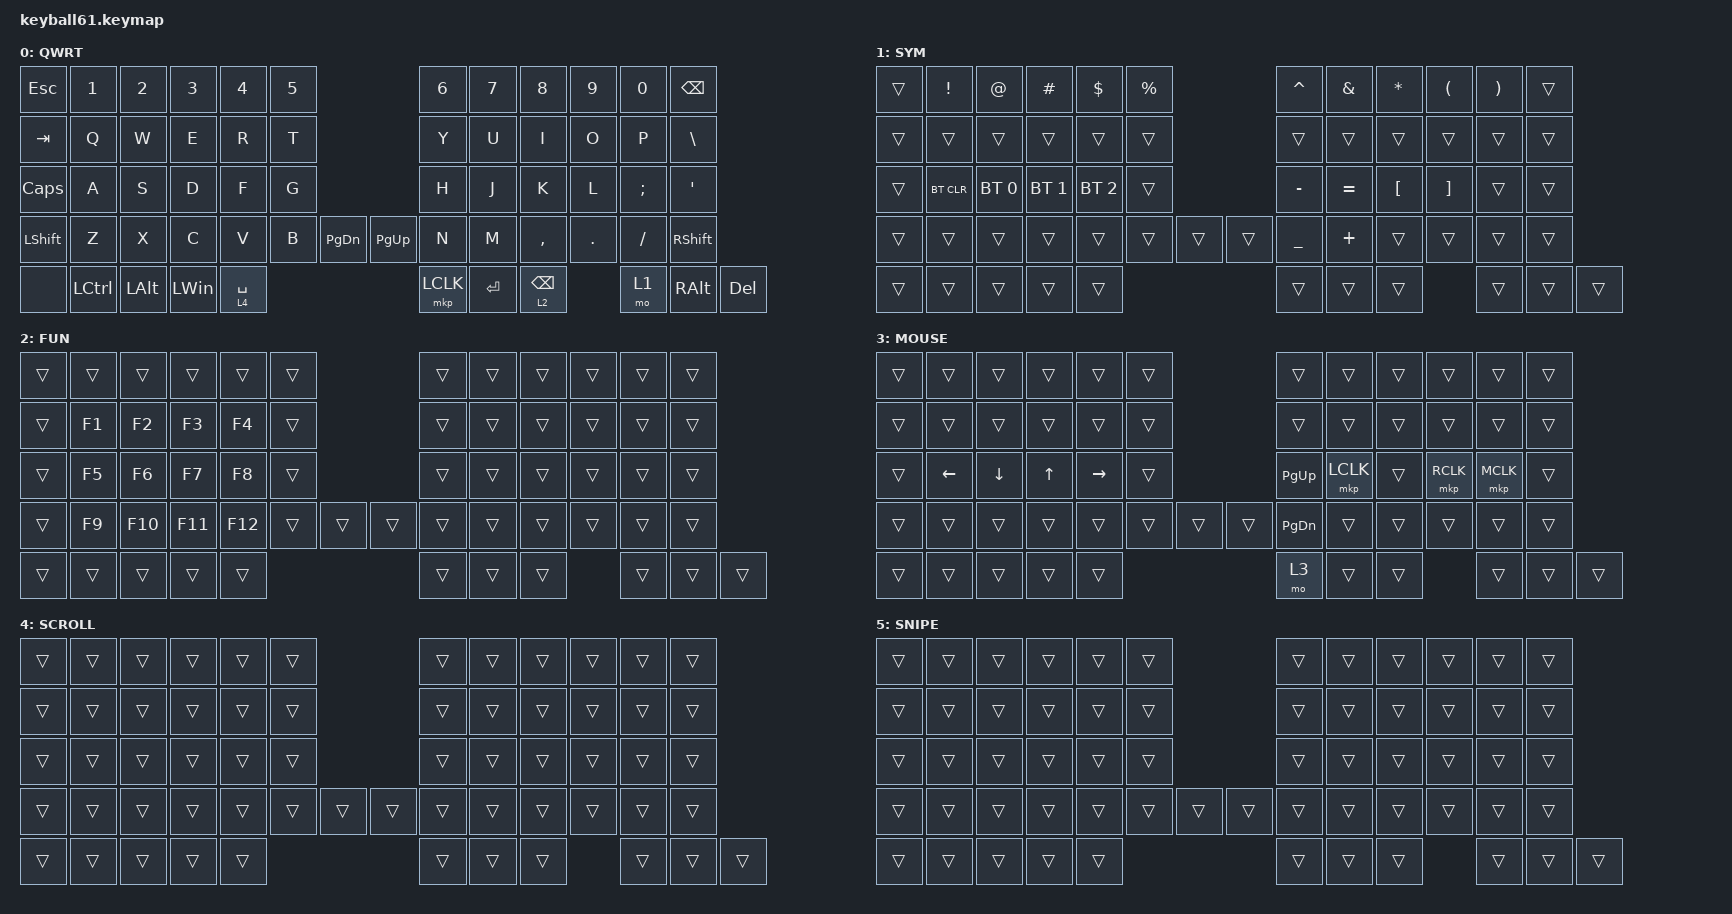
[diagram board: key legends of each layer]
#include <behaviors.dtsi>
#include <dt-bindings/zmk/keys.h>
#include <dt-bindings/zmk/bt.h>
#include <dt-bindings/zmk/mouse.h>

#define DEFAULT 0
#define SYM     1
#define FUN     2
#define MOUSE   3
#define SCROLL  4
#define SNIPE   5

&lt {
    tapping-term-ms = <240>;
    flavor = "balanced";
    quick-tap-ms = <150>;
};

&mt {
    tapping-term-ms = <200>;
    flavor = "tap-preferred";
    quick-tap-ms = <150>;
};

/ {
    keymap {
        compatible = "zmk,keymap";

        default_layer {
            label = "QWRT";
            bindings = <
&kp ESC         &kp N1     &kp N2        &kp N3        &kp N4  &kp N5                                   &kp N6           &kp N7  &kp N8     &kp N9   &kp N0         &kp BSPC
&kp TAB         &kp Q      &kp W         &kp E         &kp R   &kp T                                    &kp Y            &kp U   &kp I      &kp O    &kp P          &kp BACKSLASH
&kp CAPS        &kp A      &kp S         &kp D         &kp F   &kp G                                    &kp H            &kp J   &kp K      &kp L    &kp SEMI       &kp SQT
&kp LEFT_SHIFT  &kp Z      &kp X         &kp C         &kp V   &kp B        &kp PAGE_DOWN  &kp PAGE_UP  &kp N            &kp M   &kp COMMA  &kp DOT  &kp FSLH       &kp RIGHT_SHIFT
&none           &kp LCTRL  &kp LEFT_ALT  &kp LEFT_WIN  &lt 4 SPACE                                      &mkp LCLK        &kp ENTER  &lt 2 BACKSPACE  &mo 1    &kp RIGHT_ALT  &kp DELETE
            >;
        };

        symbol_layer {
            label = "SYM";
            bindings = <
&trans  &kp EXCL &kp AT   &kp HASH &kp DLLR &kp PRCNT                            &kp CARET &kp AMPS &kp ASTRK &kp LPAR &kp RPAR &trans
&trans  &trans   &trans   &trans   &trans   &trans                               &trans    &trans   &trans    &trans   &trans   &trans
&trans  &bt BT_CLR &bt BT_SEL 0 &bt BT_SEL 1 &bt BT_SEL 2 &trans                 &kp MINUS &kp EQUAL &kp LBKT &kp RBKT &trans   &trans
&trans  &trans   &trans   &trans   &trans   &trans    &trans    &trans           &kp UNDER &kp PLUS &trans    &trans   &trans   &trans
&trans  &trans   &trans   &trans   &trans                                        &trans    &trans   &trans    &trans   &trans   &trans
            >;
        };

        function_layer {
            label = "FUN";
            bindings = <
&trans  &trans  &trans  &trans  &trans  &trans                                   &trans  &trans  &trans  &trans  &trans  &trans
&trans  &kp F1  &kp F2  &kp F3  &kp F4  &trans                                   &trans  &trans  &trans  &trans  &trans  &trans
&trans  &kp F5  &kp F6  &kp F7  &kp F8  &trans                                   &trans  &trans  &trans  &trans  &trans  &trans
&trans  &kp F9  &kp F10 &kp F11 &kp F12 &trans      &trans      &trans           &trans  &trans  &trans  &trans  &trans  &trans
&trans  &trans  &trans  &trans  &trans                                           &trans  &trans  &trans  &trans  &trans  &trans
            >;
        };

        mouse_layer {
            label = "MOUSE";
            bindings = <
&trans  &trans    &trans    &trans  &trans     &trans                            &trans         &trans     &trans  &trans     &trans     &trans
&trans  &trans    &trans    &trans  &trans     &trans                            &trans         &trans     &trans  &trans     &trans     &trans
&trans  &kp LEFT  &kp DOWN  &kp UP  &kp RIGHT  &trans                            &kp PAGE_UP    &mkp LCLK  &trans  &mkp RCLK  &mkp MCLK  &trans
&trans  &trans    &trans    &trans  &trans     &trans  &trans      &trans        &kp PAGE_DOWN  &trans     &trans  &trans     &trans     &trans
&trans  &trans    &trans    &trans  &trans                                       &mo 3          &trans     &trans  &trans     &trans     &trans
            >;
        };

        scroll_layer {
            label = "SCROLL";
            bindings = <
&trans  &trans  &trans  &trans  &trans  &trans                                   &trans  &trans  &trans  &trans  &trans  &trans
&trans  &trans  &trans  &trans  &trans  &trans                                   &trans  &trans  &trans  &trans  &trans  &trans
&trans  &trans  &trans  &trans  &trans  &trans                                   &trans  &trans  &trans  &trans  &trans  &trans
&trans  &trans  &trans  &trans  &trans  &trans      &trans      &trans           &trans  &trans  &trans  &trans  &trans  &trans
&trans  &trans  &trans  &trans  &trans                                           &trans  &trans  &trans  &trans  &trans  &trans
            >;
        };

        snipe_layer {
            label = "SNIPE";
            bindings = <
&trans  &trans  &trans  &trans  &trans  &trans                                   &trans  &trans  &trans  &trans  &trans  &trans
&trans  &trans  &trans  &trans  &trans  &trans                                   &trans  &trans  &trans  &trans  &trans  &trans
&trans  &trans  &trans  &trans  &trans  &trans                                   &trans  &trans  &trans  &trans  &trans  &trans
&trans  &trans  &trans  &trans  &trans  &trans      &trans      &trans           &trans  &trans  &trans  &trans  &trans  &trans
&trans  &trans  &trans  &trans  &trans                                           &trans  &trans  &trans  &trans  &trans  &trans
            >;
        };
    };
};
